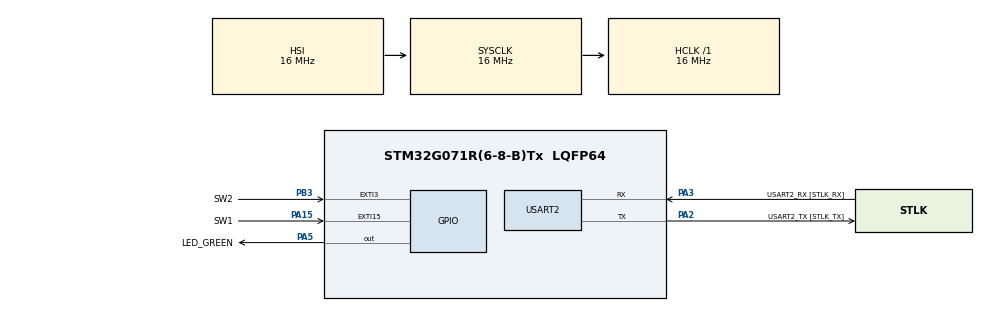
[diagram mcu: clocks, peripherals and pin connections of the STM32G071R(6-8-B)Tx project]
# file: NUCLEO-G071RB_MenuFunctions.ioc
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Mcu.Family=STM32G0
Mcu.Name=STM32G071R(6-8-B)Tx
Mcu.Package=LQFP64
NVIC.TIM14_IRQn=true\:0\:0\:false\:false\:true\:true\:true
PA13.GPIO_Label=TMS
PA13.Mode=Serial_Wire
PA13.Signal=SYS_SWDIO
PA14-BOOT0.GPIO_Label=TCK
PA14-BOOT0.Mode=Serial_Wire
PA14-BOOT0.Signal=SYS_SWCLK
PA15.GPIO_Label=SW1
PA15.GPIO_ModeDefaultEXTI=GPIO_MODE_IT_RISING_FALLING
PA15.GPIO_PuPd=GPIO_PULLUP
PA15.Signal=GPXTI15
PA2.GPIO_Label=USART2_TX [STLK_TX]
PA2.GPIO_PuPd=GPIO_PULLUP
PA2.Mode=Asynchronous
PA2.Signal=USART2_TX
PA3.GPIO_Label=USART2_RX [STLK_RX]
PA3.GPIO_PuPd=GPIO_PULLUP
PA3.Mode=Asynchronous
PA3.Signal=USART2_RX
PA5.GPIO_Label=LED_GREEN
PA5.GPIO_Speed=GPIO_SPEED_FREQ_HIGH
PA5.Signal=GPIO_Output
PB3.GPIO_Label=SW2
PB3.GPIO_ModeDefaultEXTI=GPIO_MODE_IT_RISING_FALLING
PB3.GPIO_PuPd=GPIO_PULLUP
PB3.Signal=GPXTI3
PC13.Mode=SYS_WakeUp1
PC13.Signal=SYS_WKUP2
PC14-OSC32_IN\ (PC14).Mode=LSE-External-Oscillator
PC14-OSC32_IN\ (PC14).Signal=RCC_OSC32_IN
PC15-OSC32_OUT\ (PC15).Mode=LSE-External-Oscillator
PC15-OSC32_OUT\ (PC15).Signal=RCC_OSC32_OUT
PF0-OSC_IN\ (PF0).GPIO_Label=MCO
PF0-OSC_IN\ (PF0).Mode=HSE-External-Clock-Source
PF0-OSC_IN\ (PF0).Signal=RCC_OSC_IN
ProjectManager.HeapSize=0x200
ProjectManager.StackSize=0x400
ProjectManager.TargetToolchain=STM32CubeIDE
RCC.AHBFreq_Value=16000000
RCC.CortexFreq_Value=16000000
RCC.EXTERNAL_CLOCK_VALUE=12288000
RCC.HCLKFreq_Value=16000000
RCC.HSE_VALUE=8000000
RCC.HSI_VALUE=16000000
RCC.SYSCLKFreq_VALUE=16000000
RCC.VCOOutputFreq_Value=128000000
TIM14.AutoReloadPreload=TIM_AUTORELOAD_PRELOAD_DISABLE
TIM14.Period=65535-1
TIM14.Prescaler=16000-1
USART2.VirtualMode-Asynchronous=VM_ASYNC
VP_SYS_VS_DBSignals.Mode=DisableDeadBatterySignals
VP_TIM14_VS_ClockSourceINT.Mode=Enable_Timer
board=NUCLEO-G071RB

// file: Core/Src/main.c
/* USER CODE BEGIN Header */
/**
  ******************************************************************************
  * @file           : main.c
  * @brief          : Main program body
  * Sub-heading		: TIMER functionality
  ******************************************************************************
  * @attention
  *
  * <h2><center>&copy; Copyright (c) 2020 STMicroelectronics.
  * All rights reserved.</center></h2>
  *
  * This software component is licensed by ST under BSD 3-Clause license,
  * the "License"; You may not use this file except in compliance with the
  * License. You may obtain a copy of the License at:
  *                        opensource.org/licenses/BSD-3-Clause
  *
  ******************************************************************************
  */
/* USER CODE END Header */
#include "main.h"

/* USER CODE BEGIN Includes */
#include <stdio.h>
#include <string.h>
/* USER CODE END Includes */

TIM_HandleTypeDef htim14;

UART_HandleTypeDef huart2;

void SystemClock_Config(void);
static void MX_GPIO_Init(void);
static void MX_USART2_UART_Init(void);
static void MX_TIM14_Init(void);

int main(void)
{
  /* USER CODE BEGIN 1 */
	int time_en;							//timer enable check
	int sensor_en;							//sensor enable check
	int sw1_pin_cnt;							//pin count sw1
	int sw2_pin_cnt;							//pin count sw2
	uint8_t buf[20];
	char uart_buf[50];						//uart buffer
	int uart_buf_len;
	uint16_t timer_val;						//timer variable
  /* USER CODE END 1 */

  /* MCU Configuration--------------------------------------------------------*/

  /* Reset of all peripherals, Initializes the Flash interface and the Systick. */
  HAL_Init();

  /* Configure the system clock */
  SystemClock_Config();

  /* Initialize all configured peripherals */
  MX_GPIO_Init();
  MX_USART2_UART_Init();
  MX_TIM14_Init();
  /* USER CODE BEGIN 2 */
//Timer start when button pressed
void TimerStart(void)
{
	time_en = 1;
	HAL_TIM_Base_Start(&htim14);						//start timer
	timer_val = __HAL_TIM_GET_COUNTER(&htim14);			//init Timer compare value
}

//Blink LD4 if test works
void LEDblink(void)
{
	HAL_GPIO_WritePin(GPIOA, GPIO_PIN_5, GPIO_PIN_SET);		//LED PA5 ON
	HAL_Delay(1000);											//1s delay
	HAL_GPIO_WritePin(GPIOA, GPIO_PIN_5, GPIO_PIN_RESET);		//LED PA5 OFF
	HAL_TIM_Base_Stop(&htim14);						//Stop timer
	time_en = 0;
}

//sleep function
void gotoSleep(void)
{
	//enable the PWR clock control (177 ref)
	RCC->APBENR1 |= (RCC_APBENR1_PWREN);

	//Setting SLEEPDEEP (88,93 PM)
	SCB->SCR |= SCB_SCR_SLEEPDEEP_Msk;

	//Low power mode selection (123 ,126 ref)
	PWR->CR1 |= PWR_CR1_LPMS;			//Is this correct?

	//Clear WUFx bits (131 ref)
	PWR->SR1 |= 0x00000000;				//Am I doing this right?

	//Enable WKUPx reg (129 ref)
	PWR->CR3 |= 0X0000003B;				//Set bit [5:3]&[1:0]

	//WFI enable
	__WFI();
}
  //UART start

  /* USER CODE END 2 */

  /* Infinite loop */
  /* USER CODE BEGIN WHILE */
  if((PWR->SCR)&(PWR_SCR_CSBF))			//Check if standby flag is enabled
    {
  	  //clear PWR WUF
  	  PWR->SR1 |= 0X0000003B;				//Set bit [5:3]&[1:0]
  	  //Set standby flag
  	  PWR->SCR |= PWR_SCR_CSBF;
    }
    else
    {
    	uart_buf_len = sprintf(uart_buf, "Device Ready.\r\n");
    	HAL_UART_Transmit(&huart2, (uint8_t *)uart_buf, uart_buf_len, 1000);
    }

  while (1)
  {
	  //*________________________________________DEVICE WAKE UP_________________________________________________________
	  if(((HAL_GPIO_ReadPin(GPIOA, GPIO_PIN_15))&(HAL_GPIO_ReadPin(GPIOB, GPIO_PIN_3))) == GPIO_PIN_RESET)
		{
		  uart_buf_len = sprintf(uart_buf, "Awake.\r\n");
		  HAL_UART_Transmit(&huart2, (uint8_t *)uart_buf, uart_buf_len, 10000);		//UART write
		  TimerStart();													//Start Timer
		  sw1_pin_cnt = 0;
		  sw2_pin_cnt = 0;
		  sensor_en = 0;
		  HAL_Delay(1000);

		  while ((time_en == 1)&(__HAL_TIM_GET_COUNTER(&htim14) - timer_val <= 10000))
		  {
			  if((sw1_pin_cnt==0)&(HAL_GPIO_ReadPin(GPIOA, GPIO_PIN_15) == GPIO_PIN_RESET))	//SENSOR MODE**************************************
				{
				  sw1_pin_cnt++;
				  HAL_TIM_Base_Stop(&htim14);						//Stop timer
				  uart_buf_len = sprintf(uart_buf, "1. SENSOR MODE.\r\n");
				  HAL_UART_Transmit(&huart2, (uint8_t *)uart_buf, uart_buf_len, 10000);		//UART write
				  TimerStart();										//Start Timer
				  HAL_Delay(1000);
				}
//*________________________________________1. SENSOR MODE_________________________________________________________
			  while ((sw1_pin_cnt==1)&(time_en == 1)&(__HAL_TIM_GET_COUNTER(&htim14) - timer_val <= 10000))			//Under 10sec
			  {
				  if(HAL_GPIO_ReadPin(GPIOA, GPIO_PIN_15) == GPIO_PIN_RESET)
				  {
					  sw1_pin_cnt ++;
					  HAL_Delay(1000);
					  break;
				  }

				  // i. Probably toggle between START and STOP and leave out the PAUSE function. (Reduce code and CPU space)

				  if((sensor_en==0)&(HAL_GPIO_ReadPin(GPIOB, GPIO_PIN_3) == GPIO_PIN_RESET))	//SENSOR MODE
					{
					  HAL_TIM_Base_Stop(&htim14);						//Stop timer
					  uart_buf_len = sprintf(uart_buf, "	(i)START.\r\n");
					  HAL_UART_Transmit(&huart2, (uint8_t *)uart_buf, uart_buf_len, 10000);		//UART write
					  TimerStart();
					  sensor_en = 1;
					  //break;
					  HAL_Delay(1000);
					}
				  if((sensor_en==1)&(HAL_GPIO_ReadPin(GPIOB, GPIO_PIN_3) == GPIO_PIN_RESET))
				  {
					  HAL_TIM_Base_Stop(&htim14);						//Stop timer
					  uart_buf_len = sprintf(uart_buf, "	(ii)STOP.\r\n");
					  HAL_UART_Transmit(&huart2, (uint8_t *)uart_buf, uart_buf_len, 10000);		//UART write
					  TimerStart();
					  sensor_en = 0;
					 //break;
					  HAL_Delay(1000);
				  }
			  }
//*________________________________________2. DISPLAY MODE_________________________________________________________

			  if((sw1_pin_cnt==2))	//&(HAL_GPIO_ReadPin(GPIOA, GPIO_PIN_15) == GPIO_PIN_RESET))	//DISPLAY MODE**************************************
			  {
//				  sw1_pin_cnt ++;
				  sw2_pin_cnt = 0;
				  HAL_TIM_Base_Stop(&htim14);						//Stop timer
				  uart_buf_len = sprintf(uart_buf, "2. DISPLAY MODE.\r\n");
				  HAL_UART_Transmit(&huart2, (uint8_t *)uart_buf, uart_buf_len, 10000);		//UART write
				  TimerStart();										//Start Timer
				  HAL_Delay(1000);
			  }
			  while ((sw1_pin_cnt==2)&(time_en == 1)&(__HAL_TIM_GET_COUNTER(&htim14) - timer_val <= 10000))			//Under 10sec
			  {
				  if(HAL_GPIO_ReadPin(GPIOA, GPIO_PIN_15) == GPIO_PIN_RESET)
				  {
					  sw1_pin_cnt ++;
					  HAL_Delay(1000);
					  break;
				  }
			  }

//*________________________________________3. RESET MODE_________________________________________________________
			  if((sw1_pin_cnt==3))		//&(HAL_GPIO_ReadPin(GPIOA, GPIO_PIN_15) == GPIO_PIN_RESET))	//DISPLAY MODE**************************************
			  {
				 // sw1_pin_cnt ++;
				  sw2_pin_cnt = 0;
				  HAL_TIM_Base_Stop(&htim14);						//Stop timer
				  uart_buf_len = sprintf(uart_buf, "3. RESET MODE.\r\n");
				  HAL_UART_Transmit(&huart2, (uint8_t *)uart_buf, uart_buf_len, 10000);		//UART write
				  TimerStart();										//Start Timer
				  HAL_Delay(1000);
			  }
			  while ((sw1_pin_cnt==3)&(time_en == 1)&(__HAL_TIM_GET_COUNTER(&htim14) - timer_val <= 10000))			//Under 10sec
			  {
				  if(HAL_GPIO_ReadPin(GPIOA, GPIO_PIN_15) == GPIO_PIN_RESET)
				  {
					  sw1_pin_cnt = 1;
					  HAL_Delay(1000);
					  uart_buf_len = sprintf(uart_buf, "1. SENSOR MODE.\r\n");
					  HAL_UART_Transmit(&huart2, (uint8_t *)uart_buf, uart_buf_len, 10000);		//UART write
				  }
				  //reset everything when SW2 pressed twice.
			  }
//____________________________________________________________________________________________________________________

		  }
		  LEDblink();
		  //Sleep
		  strcpy((char*)buf, "I sleeps.\r\n");
		  HAL_UART_Transmit(&huart2, buf, strlen((char*)buf), HAL_MAX_DELAY);
		  HAL_Delay(1000);

		  gotoSleep();

		  strcpy((char*)buf, "LOL fail.\r\n");
		  HAL_UART_Transmit(&huart2, buf, strlen((char*)buf), HAL_MAX_DELAY);
		  HAL_Delay(1000);
		}

    /* USER CODE END WHILE */

  }
}

void SystemClock_Config(void)
{
  RCC_OscInitTypeDef RCC_OscInitStruct = {0};
  RCC_ClkInitTypeDef RCC_ClkInitStruct = {0};
  RCC_PeriphCLKInitTypeDef PeriphClkInit = {0};

  /** Configure the main internal regulator output voltage
  */
  HAL_PWREx_ControlVoltageScaling(PWR_REGULATOR_VOLTAGE_SCALE1);
  /** Initializes the RCC Oscillators according to the specified parameters
  * in the RCC_OscInitTypeDef structure.
  */
  RCC_OscInitStruct.OscillatorType = RCC_OSCILLATORTYPE_HSI;
  RCC_OscInitStruct.HSIState = RCC_HSI_ON;
  RCC_OscInitStruct.HSIDiv = RCC_HSI_DIV1;
  RCC_OscInitStruct.HSICalibrationValue = RCC_HSICALIBRATION_DEFAULT;
  RCC_OscInitStruct.PLL.PLLState = RCC_PLL_NONE;
  if (HAL_RCC_OscConfig(&RCC_OscInitStruct) != HAL_OK)
  {
    Error_Handler();
  }
  /** Initializes the CPU, AHB and APB buses clocks
  */
  RCC_ClkInitStruct.ClockType = RCC_CLOCKTYPE_HCLK|RCC_CLOCKTYPE_SYSCLK
                              |RCC_CLOCKTYPE_PCLK1;
  RCC_ClkInitStruct.SYSCLKSource = RCC_SYSCLKSOURCE_HSI;
  RCC_ClkInitStruct.AHBCLKDivider = RCC_SYSCLK_DIV1;
  RCC_ClkInitStruct.APB1CLKDivider = RCC_HCLK_DIV1;

  if (HAL_RCC_ClockConfig(&RCC_ClkInitStruct, FLASH_LATENCY_0) != HAL_OK)
  {
    Error_Handler();
  }
  /** Initializes the peripherals clocks
  */
  PeriphClkInit.PeriphClockSelection = RCC_PERIPHCLK_USART2;
  PeriphClkInit.Usart2ClockSelection = RCC_USART2CLKSOURCE_PCLK1;
  if (HAL_RCCEx_PeriphCLKConfig(&PeriphClkInit) != HAL_OK)
  {
    Error_Handler();
  }
}

static void MX_TIM14_Init(void)
{

  htim14.Instance = TIM14;
  htim14.Init.Prescaler = 16000-1;
  htim14.Init.CounterMode = TIM_COUNTERMODE_UP;
  htim14.Init.Period = 65535-1;
  htim14.Init.ClockDivision = TIM_CLOCKDIVISION_DIV1;
  htim14.Init.AutoReloadPreload = TIM_AUTORELOAD_PRELOAD_DISABLE;
  if (HAL_TIM_Base_Init(&htim14) != HAL_OK)
  {
    Error_Handler();
  }

}

static void MX_USART2_UART_Init(void)
{

  huart2.Instance = USART2;
  huart2.Init.BaudRate = 115200;
  huart2.Init.WordLength = UART_WORDLENGTH_8B;
  huart2.Init.StopBits = UART_STOPBITS_1;
  huart2.Init.Parity = UART_PARITY_NONE;
  huart2.Init.Mode = UART_MODE_TX_RX;
  huart2.Init.HwFlowCtl = UART_HWCONTROL_NONE;
  huart2.Init.OverSampling = UART_OVERSAMPLING_16;
  huart2.Init.OneBitSampling = UART_ONE_BIT_SAMPLE_DISABLE;
  huart2.Init.ClockPrescaler = UART_PRESCALER_DIV1;
  huart2.AdvancedInit.AdvFeatureInit = UART_ADVFEATURE_NO_INIT;
  if (HAL_UART_Init(&huart2) != HAL_OK)
  {
    Error_Handler();
  }
  if (HAL_UARTEx_SetTxFifoThreshold(&huart2, UART_TXFIFO_THRESHOLD_1_8) != HAL_OK)
  {
    Error_Handler();
  }
  if (HAL_UARTEx_SetRxFifoThreshold(&huart2, UART_RXFIFO_THRESHOLD_1_8) != HAL_OK)
  {
    Error_Handler();
  }
  if (HAL_UARTEx_DisableFifoMode(&huart2) != HAL_OK)
  {
    Error_Handler();
  }

}

static void MX_GPIO_Init(void)
{
  GPIO_InitTypeDef GPIO_InitStruct = {0};

  /* GPIO Ports Clock Enable */
  __HAL_RCC_GPIOC_CLK_ENABLE();
  __HAL_RCC_GPIOF_CLK_ENABLE();
  __HAL_RCC_GPIOA_CLK_ENABLE();
  __HAL_RCC_GPIOB_CLK_ENABLE();

  /*Configure GPIO pin Output Level */
  HAL_GPIO_WritePin(LED_GREEN_GPIO_Port, LED_GREEN_Pin, GPIO_PIN_RESET);

  /*Configure GPIO pin : LED_GREEN_Pin */
  GPIO_InitStruct.Pin = LED_GREEN_Pin;
  GPIO_InitStruct.Mode = GPIO_MODE_OUTPUT_PP;
  GPIO_InitStruct.Pull = GPIO_NOPULL;
  GPIO_InitStruct.Speed = GPIO_SPEED_FREQ_HIGH;
  HAL_GPIO_Init(LED_GREEN_GPIO_Port, &GPIO_InitStruct);

  /*Configure GPIO pin : SW1_Pin */
  GPIO_InitStruct.Pin = SW1_Pin;
  GPIO_InitStruct.Mode = GPIO_MODE_IT_RISING_FALLING;
  GPIO_InitStruct.Pull = GPIO_PULLUP;
  HAL_GPIO_Init(SW1_GPIO_Port, &GPIO_InitStruct);

  /*Configure GPIO pin : SW2_Pin */
  GPIO_InitStruct.Pin = SW2_Pin;
  GPIO_InitStruct.Mode = GPIO_MODE_IT_RISING_FALLING;
  GPIO_InitStruct.Pull = GPIO_PULLUP;
  HAL_GPIO_Init(SW2_GPIO_Port, &GPIO_InitStruct);

}

void Error_Handler(void)
{
}

/************************ (C) COPYRIGHT STMicroelectronics *****END OF FILE****/
